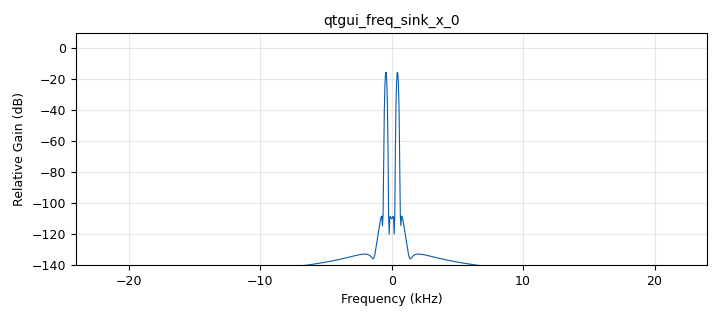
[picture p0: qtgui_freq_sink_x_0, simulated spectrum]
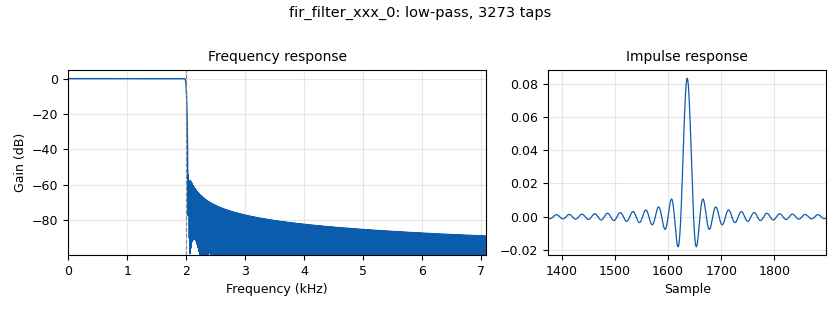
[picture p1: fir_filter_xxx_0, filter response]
<?xml version='1.0' encoding='utf-8'?>
<?grc format='1' created='3.7.11'?>
<flow_graph>
<block>
<key>options</key>
<param><key>id</key><value>top_block</value></param>
<param><key>generate_options</key><value>qt_gui</value></param>
</block>
<block>
<key>variable_qtgui_range</key>
<param><key>id</key><value>freq</value></param>
<param><key>value</key><value>440</value></param>
<param><key>orient</key><value>Qt.Horizontal</value></param>
<param><key>start</key><value>0</value></param>
<param><key>step</key><value>100</value></param>
<param><key>stop</key><value>100e3</value></param>
</block>
<block>
<key>variable</key>
<param><key>id</key><value>samp_rate</value></param>
<param><key>value</key><value>48000</value></param>
</block>
<block>
<key>variable</key>
<param><key>id</key><value>taps</value></param>
<param><key>comment</key><value>filter.firdes.low_pass_2(1, samp_rate, 2000, 100, 150)</value></param>
<param><key>value</key><value>filter.firdes.low_pass_2(1, samp_rate, 2000, 100, 150)</value></param>
</block>
<block>
<key>analog_sig_source_x</key>
<param><key>id</key><value>analog_sig_source_x_0</value></param>
<param><key>amp</key><value>1</value></param>
<param><key>freq</key><value>freq</value></param>
<param><key>offset</key><value>0</value></param>
<param><key>type</key><value>float</value></param>
<param><key>samp_rate</key><value>samp_rate</value></param>
<param><key>waveform</key><value>analog.GR_COS_WAVE</value></param>
</block>
<block>
<key>audio_sink</key>
<param><key>id</key><value>audio_sink_0</value></param>
<param><key>samp_rate</key><value>samp_rate</value></param>
</block>
<block>
<key>fir_filter_xxx</key>
<param><key>id</key><value>fir_filter_xxx_0</value></param>
<param><key>decim</key><value>1</value></param>
<param><key>taps</key><value>taps</value></param>
<param><key>type</key><value>fff</value></param>
</block>
<block>
<key>qtgui_freq_sink_x</key>
<param><key>id</key><value>qtgui_freq_sink_x_0</value></param>
<param><key>bw</key><value>samp_rate</value></param>
<param><key>fc</key><value>0</value></param>
<param><key>fftsize</key><value>1024</value></param>
<param><key>showports</key><value>True</value></param>
<param><key>type</key><value>float</value></param>
<param><key>wintype</key><value>firdes.WIN_BLACKMAN_hARRIS</value></param>
</block>
<connection><source_block_id>analog_sig_source_x_0</source_block_id><sink_block_id>fir_filter_xxx_0</sink_block_id><source_key>0</source_key><sink_key>0</sink_key></connection>
<connection><source_block_id>fir_filter_xxx_0</source_block_id><sink_block_id>audio_sink_0</sink_block_id><source_key>0</source_key><sink_key>0</sink_key></connection>
<connection><source_block_id>fir_filter_xxx_0</source_block_id><sink_block_id>qtgui_freq_sink_x_0</sink_block_id><source_key>0</source_key><sink_key>0</sink_key></connection>
</flow_graph>
